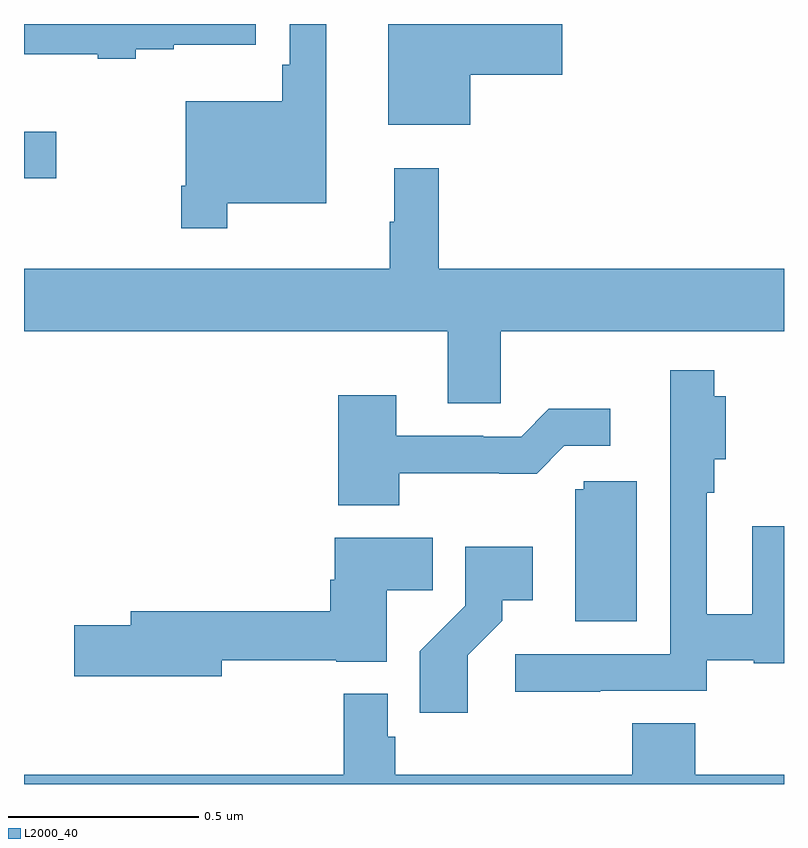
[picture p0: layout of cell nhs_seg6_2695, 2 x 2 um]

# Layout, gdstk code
import gdstk
lib = gdstk.Library(unit=1e-6, precision=1e-09)
def R(c, l, rs):  # rectangles x0, y0, x1, y1
    for r in rs: c.add(gdstk.rectangle(r[:2], r[2:], *l))
def P(c, l, *ps):  # polygons
    for p in ps: c.add(gdstk.Polygon(p, *l))
L2000_40 = (2000, 40)

nhs_seg6_2695 = lib.new_cell('nhs_seg6_2695')
R(nhs_seg6_2695, L2000_40, [(147,925.094,147.085,925.216)])
P(nhs_seg6_2695, L2000_40, [(147.535,925.028),(147.796,925.028),(147.796,925.5),(147.699,925.5),(147.699,925.393),(147.679,925.393),(147.679,925.297),(147.426,925.297),(147.426,925.075),(147.414,925.075),(147.414,924.963),(147.535,924.963)],
  [(147.294,925.433),(147.394,925.433),(147.394,925.445),(147.61,925.445),(147.61,925.5),(147,925.5),(147,925.421),(147.194,925.421),(147.194,925.409),(147.294,925.409)],
  [(148.174,925.367),(148.417,925.367),(148.417,925.5),(147.959,925.5),(147.959,925.235),(148.174,925.235)],
  [(148.254,924.692),(149,924.692),(149,924.856),(148.091,924.856),(148.091,925.12),(147.974,925.12),(147.974,924.98),(147.963,924.98),(147.963,924.856),(147,924.856),(147,924.692),(148.115,924.692),(148.115,924.502),(148.254,924.502)],
  [(148.517,923.745),(148.797,923.745),(148.797,923.826),(148.92,923.826),(148.92,923.818),(149,923.818),(149,924.178),(148.916,924.178),(148.916,923.947),(148.797,923.947),(148.797,924.266),(148.817,924.266),(148.817,924.355),(148.847,924.355),(148.847,924.52),(148.817,924.52),(148.817,924.589),(148.7,924.589),(148.7,924.366),(148.701,924.366),(148.701,923.841),(148.293,923.841),(148.293,923.743),(148.517,923.743)],
  [(147.987,924.318),(148.25,924.318),(148.25,924.317),(148.349,924.317),(148.422,924.39),(148.543,924.39),(148.543,924.487),(148.381,924.487),(148.308,924.414),(148.208,924.414),(148.208,924.417),(147.979,924.417),(147.979,924.523),(147.827,924.523),(147.827,924.233),(147.987,924.233)],
  [(148.612,924.297),(148.473,924.297),(148.473,924.276),(148.451,924.276),(148.451,923.928),(148.612,923.928)],
  [(147.52,923.826),(147.822,923.826),(147.822,923.822),(147.955,923.822),(147.955,924.01),(148.076,924.01),(148.076,924.148),(147.818,924.148),(147.818,924.038),(147.806,924.038),(147.806,923.954),(147.281,923.954),(147.281,923.918),(147.132,923.918),(147.132,923.783),(147.52,923.783)],
  [(148.168,923.839),(148.258,923.929),(148.258,923.984),(148.339,923.984),(148.339,924.124),(148.161,924.124),(148.161,923.969),(148.042,923.85),(148.042,923.688),(148.168,923.688)],
  [(149,923.524),(148.766,923.524),(148.766,923.66),(148.601,923.66),(148.601,923.524),(147.977,923.524),(147.977,923.625),(147.957,923.625),(147.957,923.737),(147.841,923.737),(147.841,923.524),(147,923.524),(147,923.5),(149,923.5)])

lib.write_gds('nhs_seg6_2695.gds')
